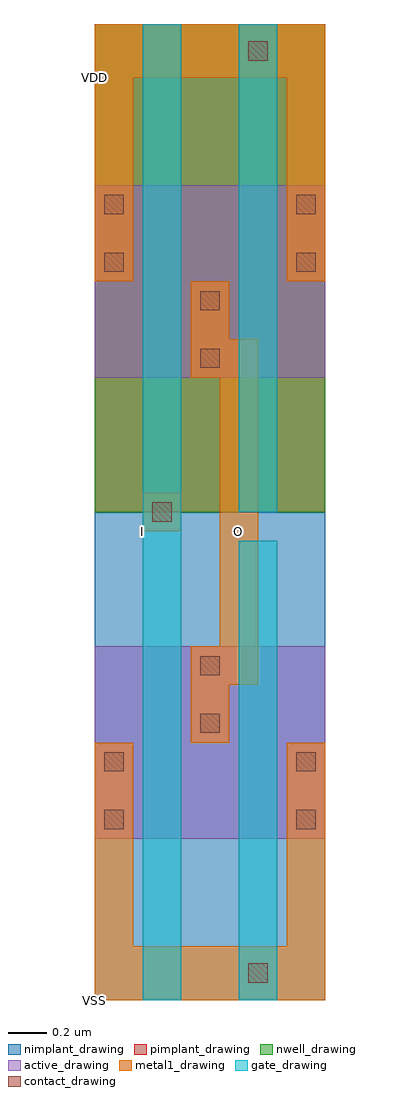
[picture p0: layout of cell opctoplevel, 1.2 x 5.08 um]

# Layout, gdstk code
import gdstk
lib = gdstk.Library(unit=1e-6, precision=1e-09)
def R(c, l, rs):  # rectangles x0, y0, x1, y1
    for r in rs: c.add(gdstk.rectangle(r[:2], r[2:], *l))
active_drawing = (1, 0)
nwell_drawing = (3, 0)
pimplant_drawing = (4, 0)
nimplant_drawing = (5, 0)
gate_drawing = (6, 0)
contact_drawing = (7, 0)
metal1_drawing = (8, 0)

opctoplevel = lib.new_cell('opctoplevel')
R(opctoplevel, active_drawing, [(0,0,0.7,1), (0.5,0,1.2,1), (0,2.4,0.7,3.4), (0.5,2.4,1.2,3.4)])
R(opctoplevel, nwell_drawing, [(0,1.7,0.7,4.24), (0.5,1.7,1.2,4.24)])
R(opctoplevel, pimplant_drawing, [(0,1.7,0.7,4.24), (0.5,1.7,1.2,4.24)])
R(opctoplevel, nimplant_drawing, [(0,-0.84,0.7,1.7), (0.5,-0.84,1.2,1.7)])
R(opctoplevel, gate_drawing, [(0.25,-0.84,0.45,1.8), (0.75,-0.84,0.95,1.55), (0.75,-0.84,0.95,-0.56), (0.25,1.6,0.45,1.8), (0.25,1.7,0.45,4.24), (0.75,1.7,0.95,4.24), (0.75,3.96,0.95,4.24)])
R(opctoplevel, contact_drawing, [(0.8,-0.75,0.9,-0.65), (0.05,0.05,0.15,0.15), (1.05,0.05,1.15,0.15), (0.05,0.35,0.15,0.45), (1.05,0.35,1.15,0.45), (0.55,0.55,0.65,0.65), (0.55,0.85,0.65,0.95), (0.3,1.65,0.4,1.75), (0.55,2.45,0.65,2.55), (0.55,2.75,0.65,2.85), (0.05,2.95,0.15,3.05), (1.05,2.95,1.15,3.05), (0.05,3.25,0.15,3.35), (1.05,3.25,1.15,3.35), (0.8,4.05,0.9,4.15)])
R(opctoplevel, metal1_drawing, [(0,-0.84,1.2,-0.56), (0.75,-0.84,0.95,-0.56), (0.75,-0.84,0.95,-0.56), (0,-0.56,0.2,0), (1,-0.56,1.2,0), (0,0,0.2,0.5), (1,0,1.2,0.5), (0.5,0.5,0.7,1), (0.25,1.6,0.45,1.8), (0.25,1.6,0.45,1.8), (0.5,2.4,0.7,2.9), (0,2.9,0.2,3.4), (1,2.9,1.2,3.4), (0,3.4,0.2,3.96), (1,3.4,1.2,3.96), (0,3.96,1.2,4.24), (0.75,3.96,0.95,4.24), (0.75,3.96,0.95,4.24)])
opctoplevel.add(gdstk.FlexPath([(0.7,2.5),(0.75,2.5),(0.75,0.9),(0.7,0.9)], 0.2, ends="flush", simple_path=True, layer=8, datatype=0))  # metal1_drawing
opctoplevel.add(gdstk.Label('I', (0.25,1.6), layer=8, texttype=1))
opctoplevel.add(gdstk.Label('O', (0.75,1.6), layer=8, texttype=1))
opctoplevel.add(gdstk.Label('VDD', (0,3.96), layer=8, texttype=1))
opctoplevel.add(gdstk.Label('VSS', (0,-0.84), layer=8, texttype=1))

lib.write_gds('opctoplevel.gds')
